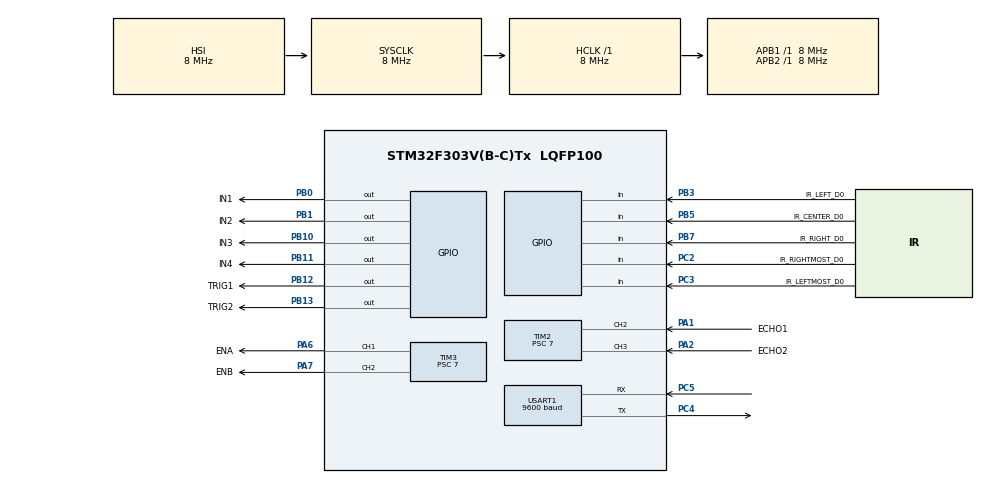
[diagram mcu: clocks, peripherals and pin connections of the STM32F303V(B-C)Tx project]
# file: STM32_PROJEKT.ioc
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Mcu.Family=STM32F3
Mcu.Name=STM32F303V(B-C)Tx
Mcu.Package=LQFP100
NVIC.PriorityGroup=NVIC_PRIORITYGROUP_4
NVIC.TIM2_IRQn=true\:0\:0\:false\:false\:true\:true\:true\:true
NVIC.USART1_IRQn=true\:0\:0\:false\:false\:true\:true\:true\:true
PA1.GPIO_Label=ECHO1
PA1.Signal=S_TIM2_CH2
PA2.GPIO_Label=ECHO2
PA2.Signal=S_TIM2_CH3
PA6.GPIO_Label=ENA
PA6.Signal=S_TIM3_CH1
PA7.GPIO_Label=ENB
PA7.Signal=S_TIM3_CH2
PB0.GPIO_Label=IN1
PB0.Signal=GPIO_Output
PB1.GPIO_Label=IN2
PB1.Signal=GPIO_Output
PB10.GPIO_Label=IN3
PB10.Signal=GPIO_Output
PB11.GPIO_Label=IN4
PB11.Signal=GPIO_Output
PB12.GPIO_Label=TRIG1
PB12.Signal=GPIO_Output
PB13.GPIO_Label=TRIG2
PB13.Signal=GPIO_Output
PB3.GPIO_Label=IR_LEFT_D0
PB3.GPIO_PuPd=GPIO_PULLUP
PB3.Signal=GPIO_Input
PB5.GPIO_Label=IR_CENTER_D0
PB5.GPIO_PuPd=GPIO_PULLUP
PB5.Signal=GPIO_Input
PB7.GPIO_Label=IR_RIGHT_D0
PB7.GPIO_PuPd=GPIO_PULLUP
PB7.Signal=GPIO_Input
PC2.GPIO_Label=IR_RIGHTMOST_D0
PC2.GPIO_PuPd=GPIO_PULLUP
PC2.Signal=GPIO_Input
PC3.GPIO_Label=IR_LEFTMOST_D0
PC3.GPIO_PuPd=GPIO_PULLUP
PC3.Signal=GPIO_Input
PC4.Mode=Asynchronous
PC4.Signal=USART1_TX
PC5.Mode=Asynchronous
PC5.Signal=USART1_RX
ProjectManager.HeapSize=0x200
ProjectManager.StackSize=0x400
ProjectManager.TargetToolchain=STM32CubeIDE
RCC.AHBFreq_Value=8000000
RCC.APB1Freq_Value=8000000
RCC.APB1TimFreq_Value=8000000
RCC.APB2Freq_Value=8000000
RCC.APB2TimFreq_Value=8000000
RCC.CortexFreq_Value=8000000
RCC.HCLKFreq_Value=8000000
RCC.HSE_VALUE=8000000
RCC.HSI_VALUE=8000000
RCC.LSE_VALUE=32768
RCC.PLLMUL=RCC_PLL_MUL9
RCC.SYSCLKFreq_VALUE=8000000
RCC.USBFreq_Value=36000000
SH.S_TIM2_CH2.0=TIM2_CH2,Input_Capture2_from_TI2
SH.S_TIM2_CH3.0=TIM2_CH3,Input_Capture3_from_TI3
SH.S_TIM3_CH1.0=TIM3_CH1,PWM Generation1 CH1
SH.S_TIM3_CH2.0=TIM3_CH2,PWM Generation2 CH2
TIM2.Channel-Input_Capture2_from_TI2=TIM_CHANNEL_2
TIM2.Channel-Input_Capture3_from_TI3=TIM_CHANNEL_3
TIM2.Period=65535
TIM2.Prescaler=7
TIM3.AutoReloadPreload=TIM_AUTORELOAD_PRELOAD_ENABLE
TIM3.Channel-PWM\ Generation1\ CH1=TIM_CHANNEL_1
TIM3.Channel-PWM\ Generation2\ CH2=TIM_CHANNEL_2
TIM3.Period=99
TIM3.Prescaler=7
USART1.BaudRate=9600
USART1.VirtualMode-Asynchronous=VM_ASYNC
VP_TIM3_VS_ClockSourceINT.Mode=Internal
board=custom

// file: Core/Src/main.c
/* USER CODE BEGIN Header */
/**
  ******************************************************************************
  * @file           : main.c
  * @brief          : Main program body
  ******************************************************************************
  * @attention
  *
  * Copyright (c) 2025 STMicroelectronics.
  * All rights reserved.
  *
  * This software is licensed under terms that can be found in the LICENSE file
  * in the root directory of this software component.
  * If no LICENSE file comes with this software, it is provided AS-IS.
  *
  ******************************************************************************
  */
/* USER CODE END Header */
#include "main.h"

/* USER CODE BEGIN Includes */
#include <string.h>
#include <stdio.h>
/* USER CODE END Includes */

/* USER CODE BEGIN PD */
#define PREDKOSC_MIN     0
#define PREDKOSC_MAX   100
#define KROK_PREDKOSCI   10
/* USER CODE END PD */

TIM_HandleTypeDef htim2;
TIM_HandleTypeDef htim3;

UART_HandleTypeDef huart1;

/* USER CODE BEGIN PV */
volatile uint8_t Auto = 0;
volatile uint8_t procentPredkosci = 10;
char znak;
int ostatniKierunek = 0;
uint32_t lewaOdleglosc = 0;
uint32_t prawaOdleglosc = 0;
volatile uint8_t pokazOdleglosc = 0;
/* USER CODE END PV */

void SystemClock_Config(void);
static void MX_GPIO_Init(void);
static void MX_TIM3_Init(void);
static void MX_TIM2_Init(void);
static void MX_USART1_UART_Init(void);
/* USER CODE BEGIN PFP */
void aktualizujPredkosc(void);
void zatrzymajSilniki(void);
void jedzNaprzod(void);
void jedzDoTylu(void);
void skrecWLewo(void);
void skrecWPrawo(void);
void zatrzymajRobota(void);
void jedzPoLinii(void);
void obslugaMenu(char znak);
uint32_t zmierzOdleglosc(GPIO_TypeDef* trigPort, uint16_t trigPin, GPIO_TypeDef* echoPort, uint16_t echoPin);
void wyswietlOdleglosc(void);

/* USER CODE END PFP */

/* USER CODE BEGIN 0 */

/*=============================================================================
  Ustawianie PWM wg procentuPredkosci
=============================================================================*/
void aktualizujPredkosc(void)
{
   uint32_t period = htim3.Init.Period + 1;
   uint32_t predkosc = (period * procentPredkosci) / 100;
   __HAL_TIM_SET_COMPARE(&htim3, TIM_CHANNEL_1, predkosc);
   __HAL_TIM_SET_COMPARE(&htim3, TIM_CHANNEL_2, predkosc);
}

/*=============================================================================
  Zatrzymanie silników
=============================================================================*/
void zatrzymajSilniki(void)
{
   __HAL_TIM_SET_COMPARE(&htim3, TIM_CHANNEL_1, 0);
   __HAL_TIM_SET_COMPARE(&htim3, TIM_CHANNEL_2, 0);
}

/*=============================================================================
  Jazda do przodu – oba silniki do przodu
=============================================================================*/
void jedzNaprzod(void)
{
   HAL_GPIO_WritePin(IN1_GPIO_Port, IN1_Pin, GPIO_PIN_SET);
   HAL_GPIO_WritePin(IN2_GPIO_Port, IN2_Pin, GPIO_PIN_RESET);
   HAL_GPIO_WritePin(IN3_GPIO_Port, IN3_Pin, GPIO_PIN_SET);
   HAL_GPIO_WritePin(IN4_GPIO_Port, IN4_Pin, GPIO_PIN_RESET);
   aktualizujPredkosc();
}

/*=============================================================================
  Jazda do tyłu – oba silniki do tyłu
=============================================================================*/
void jedzDoTylu(void)
{
   HAL_GPIO_WritePin(IN1_GPIO_Port, IN1_Pin, GPIO_PIN_RESET);
   HAL_GPIO_WritePin(IN2_GPIO_Port, IN2_Pin, GPIO_PIN_SET);
   HAL_GPIO_WritePin(IN3_GPIO_Port, IN3_Pin, GPIO_PIN_RESET);
   HAL_GPIO_WritePin(IN4_GPIO_Port, IN4_Pin, GPIO_PIN_SET);
   aktualizujPredkosc();
}

/*=============================================================================
  Skręt w lewo: lewy silnik do tyłu, prawy do przodu
=============================================================================*/
void skrecWLewo(void)
{
   HAL_GPIO_WritePin(IN1_GPIO_Port, IN1_Pin, GPIO_PIN_SET);
   HAL_GPIO_WritePin(IN2_GPIO_Port, IN2_Pin, GPIO_PIN_RESET);
   HAL_GPIO_WritePin(IN3_GPIO_Port, IN3_Pin, GPIO_PIN_RESET);
   HAL_GPIO_WritePin(IN4_GPIO_Port, IN4_Pin, GPIO_PIN_SET);
   aktualizujPredkosc();
}

/*=============================================================================
  Skręt w prawo: lewy silnik do przodu, prawy do tyłu
=============================================================================*/
void skrecWPrawo(void)
{
   HAL_GPIO_WritePin(IN1_GPIO_Port, IN1_Pin, GPIO_PIN_RESET);
   HAL_GPIO_WritePin(IN2_GPIO_Port, IN2_Pin, GPIO_PIN_SET);
   HAL_GPIO_WritePin(IN3_GPIO_Port, IN3_Pin, GPIO_PIN_SET);
   HAL_GPIO_WritePin(IN4_GPIO_Port, IN4_Pin, GPIO_PIN_RESET);
   aktualizujPredkosc();
}

/*=============================================================================
  Pełne zatrzymanie robota
=============================================================================*/
void zatrzymajRobota(void)
{
   zatrzymajSilniki();
   HAL_GPIO_WritePin(IN1_GPIO_Port, IN1_Pin, GPIO_PIN_RESET);
   HAL_GPIO_WritePin(IN2_GPIO_Port, IN2_Pin, GPIO_PIN_RESET);
   HAL_GPIO_WritePin(IN3_GPIO_Port, IN3_Pin, GPIO_PIN_RESET);
   HAL_GPIO_WritePin(IN4_GPIO_Port, IN4_Pin, GPIO_PIN_RESET);
}

/*=============================================================================
  Pomiar odległości za pomocą czujnikow ultradźwiękowych
=============================================================================*/
uint32_t zmierzOdleglosc(GPIO_TypeDef* trigPort, uint16_t trigPin, GPIO_TypeDef* echoPort, uint16_t echoPin)
{
	uint32_t start = 0, stop = 0;
	uint32_t timeout = HAL_GetTick();

	HAL_GPIO_WritePin(trigPort, trigPin, 0);
	HAL_Delay(1);
	HAL_GPIO_WritePin(trigPort, trigPin, 1);
	__HAL_TIM_SET_COUNTER(&htim2, 0);

	while (__HAL_TIM_GET_COUNTER(&htim2) < 10);
	HAL_GPIO_WritePin(trigPort, trigPin, 0);

	while (HAL_GPIO_ReadPin(echoPort, echoPin) == 0)
	{
		if (HAL_GetTick() - timeout > 10) return 0;
	}
	start = __HAL_TIM_GET_COUNTER(&htim2);

	timeout = HAL_GetTick();
	while (HAL_GPIO_ReadPin(echoPort, echoPin) == 1)
	{
		if (HAL_GetTick() - timeout > 50) return 0;
	}
	stop = __HAL_TIM_GET_COUNTER(&htim2);

	uint32_t czas = (stop > start) ? (stop - start) : 0;

	return (uint32_t)(czas * 0.017f);
}

/*=============================================================================
  Jazda po linii z reakcją na czujniki IR oraz czujniki odległości
=============================================================================*/
void jedzPoLinii(void)
{
	lewaOdleglosc  = zmierzOdleglosc(GPIOB, TRIG1_Pin, GPIOA, GPIO_PIN_1);
	prawaOdleglosc = zmierzOdleglosc(GPIOB, TRIG2_Pin, GPIOA, GPIO_PIN_2);

	if (lewaOdleglosc < 15 || prawaOdleglosc < 15)
	{
		zatrzymajRobota();
		return;
	}

    aktualizujPredkosc();

    uint8_t skrajnieLewySensor  = HAL_GPIO_ReadPin(IR_LEFTMOST_D0_GPIO_Port, IR_LEFTMOST_D0_Pin);
    uint8_t lewySensor          = HAL_GPIO_ReadPin(IR_LEFT_D0_GPIO_Port,     IR_LEFT_D0_Pin);
    uint8_t centralnySensor     = HAL_GPIO_ReadPin(IR_CENTER_D0_GPIO_Port,   IR_CENTER_D0_Pin);
    uint8_t prawySensor         = HAL_GPIO_ReadPin(IR_RIGHT_D0_GPIO_Port,    IR_RIGHT_D0_Pin);
    uint8_t skrajniePrawySensor = HAL_GPIO_ReadPin(IR_RIGHTMOST_D0_GPIO_Port, IR_RIGHTMOST_D0_Pin);

    if (centralnySensor == 1)
    {
        jedzNaprzod();
        ostatniKierunek = 0;
    }
    else if (lewySensor == 1)
    {
        skrecWLewo();
        ostatniKierunek = 1;
    }
    else if (prawySensor == 1)
    {
        skrecWPrawo();
        ostatniKierunek = 2;
    }
    else if (skrajnieLewySensor == 1)
    {
        skrecWLewo();
        ostatniKierunek = 1;
    }
    else if (skrajniePrawySensor == 1)
    {
        skrecWPrawo();
        ostatniKierunek = 2;
    }
    else
    {
        jedzDoTylu();
        HAL_Delay(30);

        if (ostatniKierunek == 1)
        {
            skrecWLewo();
        }
        else if (ostatniKierunek == 2)
        {
            skrecWPrawo();
        }
        else
        {
            jedzNaprzod();
        }

        HAL_Delay(150);
        zatrzymajSilniki();
    }
}

/*=============================================================================
  Wyświetlanie odległości zmierzonych przez oba czujniki
=============================================================================*/
void wyswietlOdleglosc(void)
{
	lewaOdleglosc = zmierzOdleglosc(GPIOB, TRIG1_Pin, GPIOA, GPIO_PIN_1);
	prawaOdleglosc = zmierzOdleglosc(GPIOB, TRIG2_Pin, GPIOA, GPIO_PIN_2);
	char tekst[64];
	sprintf(tekst, "Lewy: %lu cm | Prawy: %lu cm\r\n", lewaOdleglosc, prawaOdleglosc);
	HAL_UART_Transmit(&huart1, (uint8_t*)tekst, strlen(tekst), HAL_MAX_DELAY);
}

/*=============================================================================
  MENU (UART)
=============================================================================*/
void obslugaMenu(char znak)
{
   switch (znak)
   {
   case 'M':
      if (procentPredkosci + KROK_PREDKOSCI <= PREDKOSC_MAX) {
         procentPredkosci += KROK_PREDKOSCI;
      } else {
         procentPredkosci = PREDKOSC_MAX;
      }
      aktualizujPredkosc();
      break;

   case 'N':
      if (procentPredkosci >= KROK_PREDKOSCI) {
         procentPredkosci -= KROK_PREDKOSCI;
      } else {
         procentPredkosci = PREDKOSC_MIN;
      }
      aktualizujPredkosc();
      break;

   case 'G':
      jedzNaprzod();
      break;

   case 'T':
      jedzDoTylu();
      break;

   case 'L':
      skrecWLewo();
      break;

   case 'P':
      skrecWPrawo();
      break;
   case 'S':
      zatrzymajRobota();
      break;
   case 'A':
      Auto = 1;
      break;
   case 'a':
      Auto = 0;
      zatrzymajRobota();
      break;
   case 'O':
	  pokazOdleglosc = 1;
      break;
   default:
      break;
   }
}
/* USER CODE END 0 */

int main(void)
{

  /* MCU Configuration--------------------------------------------------------*/

  /* Reset of all peripherals, Initializes the Flash interface and the Systick. */
  HAL_Init();

  /* Configure the system clock */
  SystemClock_Config();

  /* Initialize all configured peripherals */
  MX_GPIO_Init();
  MX_TIM3_Init();
  MX_TIM2_Init();
  MX_USART1_UART_Init();
  /* USER CODE BEGIN 2 */
  HAL_TIM_PWM_Start(&htim3, TIM_CHANNEL_1);
  HAL_TIM_PWM_Start(&htim3, TIM_CHANNEL_2);

  aktualizujPredkosc();

  HAL_TIM_Base_Start(&htim2);
  HAL_UART_Receive_IT(&huart1, (uint8_t*)&znak, 1);

  char *w = "Robot Działa\r\n";
  HAL_UART_Transmit(&huart1, (uint8_t*)w, strlen(w), HAL_MAX_DELAY);
  /* USER CODE END 2 */

  /* Infinite loop */
  /* USER CODE BEGIN WHILE */
  while (1)
  {
     if (Auto==1)
     {
    	 jedzPoLinii();
     }
     if (pokazOdleglosc==1)
     {
         wyswietlOdleglosc();
         pokazOdleglosc=0;
     }
  }
    /* USER CODE END WHILE */

}

void SystemClock_Config(void)
{
  RCC_OscInitTypeDef RCC_OscInitStruct = {0};
  RCC_ClkInitTypeDef RCC_ClkInitStruct = {0};
  RCC_PeriphCLKInitTypeDef PeriphClkInit = {0};

  /** Initializes the RCC Oscillators according to the specified parameters
  * in the RCC_OscInitTypeDef structure.
  */
  RCC_OscInitStruct.OscillatorType = RCC_OSCILLATORTYPE_HSI;
  RCC_OscInitStruct.HSIState = RCC_HSI_ON;
  RCC_OscInitStruct.HSICalibrationValue = RCC_HSICALIBRATION_DEFAULT;
  RCC_OscInitStruct.PLL.PLLState = RCC_PLL_NONE;
  if (HAL_RCC_OscConfig(&RCC_OscInitStruct) != HAL_OK)
  {
    Error_Handler();
  }

  /** Initializes the CPU, AHB and APB buses clocks
  */
  RCC_ClkInitStruct.ClockType = RCC_CLOCKTYPE_HCLK|RCC_CLOCKTYPE_SYSCLK
                              |RCC_CLOCKTYPE_PCLK1|RCC_CLOCKTYPE_PCLK2;
  RCC_ClkInitStruct.SYSCLKSource = RCC_SYSCLKSOURCE_HSI;
  RCC_ClkInitStruct.AHBCLKDivider = RCC_SYSCLK_DIV1;
  RCC_ClkInitStruct.APB1CLKDivider = RCC_HCLK_DIV1;
  RCC_ClkInitStruct.APB2CLKDivider = RCC_HCLK_DIV1;

  if (HAL_RCC_ClockConfig(&RCC_ClkInitStruct, FLASH_LATENCY_0) != HAL_OK)
  {
    Error_Handler();
  }
  PeriphClkInit.PeriphClockSelection = RCC_PERIPHCLK_USART1;
  PeriphClkInit.Usart1ClockSelection = RCC_USART1CLKSOURCE_PCLK2;
  if (HAL_RCCEx_PeriphCLKConfig(&PeriphClkInit) != HAL_OK)
  {
    Error_Handler();
  }
}

static void MX_TIM2_Init(void)
{

  TIM_MasterConfigTypeDef sMasterConfig = {0};
  TIM_IC_InitTypeDef sConfigIC = {0};

  htim2.Instance = TIM2;
  htim2.Init.Prescaler = 7;
  htim2.Init.CounterMode = TIM_COUNTERMODE_UP;
  htim2.Init.Period = 65535;
  htim2.Init.ClockDivision = TIM_CLOCKDIVISION_DIV1;
  htim2.Init.AutoReloadPreload = TIM_AUTORELOAD_PRELOAD_DISABLE;
  if (HAL_TIM_IC_Init(&htim2) != HAL_OK)
  {
    Error_Handler();
  }
  sMasterConfig.MasterOutputTrigger = TIM_TRGO_RESET;
  sMasterConfig.MasterSlaveMode = TIM_MASTERSLAVEMODE_DISABLE;
  if (HAL_TIMEx_MasterConfigSynchronization(&htim2, &sMasterConfig) != HAL_OK)
  {
    Error_Handler();
  }
  sConfigIC.ICPolarity = TIM_INPUTCHANNELPOLARITY_RISING;
  sConfigIC.ICSelection = TIM_ICSELECTION_DIRECTTI;
  sConfigIC.ICPrescaler = TIM_ICPSC_DIV1;
  sConfigIC.ICFilter = 0;
  if (HAL_TIM_IC_ConfigChannel(&htim2, &sConfigIC, TIM_CHANNEL_2) != HAL_OK)
  {
    Error_Handler();
  }
  if (HAL_TIM_IC_ConfigChannel(&htim2, &sConfigIC, TIM_CHANNEL_3) != HAL_OK)
  {
    Error_Handler();
  }

}

static void MX_TIM3_Init(void)
{

  TIM_ClockConfigTypeDef sClockSourceConfig = {0};
  TIM_MasterConfigTypeDef sMasterConfig = {0};
  TIM_OC_InitTypeDef sConfigOC = {0};

  htim3.Instance = TIM3;
  htim3.Init.Prescaler = 7;
  htim3.Init.CounterMode = TIM_COUNTERMODE_UP;
  htim3.Init.Period = 99;
  htim3.Init.ClockDivision = TIM_CLOCKDIVISION_DIV1;
  htim3.Init.AutoReloadPreload = TIM_AUTORELOAD_PRELOAD_ENABLE;
  if (HAL_TIM_Base_Init(&htim3) != HAL_OK)
  {
    Error_Handler();
  }
  sClockSourceConfig.ClockSource = TIM_CLOCKSOURCE_INTERNAL;
  if (HAL_TIM_ConfigClockSource(&htim3, &sClockSourceConfig) != HAL_OK)
  {
    Error_Handler();
  }
  if (HAL_TIM_PWM_Init(&htim3) != HAL_OK)
  {
    Error_Handler();
  }
  sMasterConfig.MasterOutputTrigger = TIM_TRGO_RESET;
  sMasterConfig.MasterSlaveMode = TIM_MASTERSLAVEMODE_DISABLE;
  if (HAL_TIMEx_MasterConfigSynchronization(&htim3, &sMasterConfig) != HAL_OK)
  {
    Error_Handler();
  }
  sConfigOC.OCMode = TIM_OCMODE_PWM1;
  sConfigOC.Pulse = 0;
  sConfigOC.OCPolarity = TIM_OCPOLARITY_HIGH;
  sConfigOC.OCFastMode = TIM_OCFAST_DISABLE;
  if (HAL_TIM_PWM_ConfigChannel(&htim3, &sConfigOC, TIM_CHANNEL_1) != HAL_OK)
  {
    Error_Handler();
  }
  if (HAL_TIM_PWM_ConfigChannel(&htim3, &sConfigOC, TIM_CHANNEL_2) != HAL_OK)
  {
    Error_Handler();
  }
  HAL_TIM_MspPostInit(&htim3);

}

static void MX_USART1_UART_Init(void)
{

  huart1.Instance = USART1;
  huart1.Init.BaudRate = 9600;
  huart1.Init.WordLength = UART_WORDLENGTH_8B;
  huart1.Init.StopBits = UART_STOPBITS_1;
  huart1.Init.Parity = UART_PARITY_NONE;
  huart1.Init.Mode = UART_MODE_TX_RX;
  huart1.Init.HwFlowCtl = UART_HWCONTROL_NONE;
  huart1.Init.OverSampling = UART_OVERSAMPLING_16;
  huart1.Init.OneBitSampling = UART_ONE_BIT_SAMPLE_DISABLE;
  huart1.AdvancedInit.AdvFeatureInit = UART_ADVFEATURE_NO_INIT;
  if (HAL_UART_Init(&huart1) != HAL_OK)
  {
    Error_Handler();
  }

}

static void MX_GPIO_Init(void)
{
  GPIO_InitTypeDef GPIO_InitStruct = {0};

  /* GPIO Ports Clock Enable */
  __HAL_RCC_GPIOC_CLK_ENABLE();
  __HAL_RCC_GPIOA_CLK_ENABLE();
  __HAL_RCC_GPIOB_CLK_ENABLE();

  /*Configure GPIO pin Output Level */
  HAL_GPIO_WritePin(GPIOB, IN1_Pin|IN2_Pin|IN3_Pin|IN4_Pin
                          |TRIG1_Pin|TRIG2_Pin, GPIO_PIN_RESET);

  /*Configure GPIO pins : IR_RIGHTMOST_D0_Pin IR_LEFTMOST_D0_Pin */
  GPIO_InitStruct.Pin = IR_RIGHTMOST_D0_Pin|IR_LEFTMOST_D0_Pin;
  GPIO_InitStruct.Mode = GPIO_MODE_INPUT;
  GPIO_InitStruct.Pull = GPIO_PULLUP;
  HAL_GPIO_Init(GPIOC, &GPIO_InitStruct);

  /*Configure GPIO pins : IN1_Pin IN2_Pin IN3_Pin IN4_Pin
                           TRIG1_Pin TRIG2_Pin */
  GPIO_InitStruct.Pin = IN1_Pin|IN2_Pin|IN3_Pin|IN4_Pin
                          |TRIG1_Pin|TRIG2_Pin;
  GPIO_InitStruct.Mode = GPIO_MODE_OUTPUT_PP;
  GPIO_InitStruct.Pull = GPIO_NOPULL;
  GPIO_InitStruct.Speed = GPIO_SPEED_FREQ_LOW;
  HAL_GPIO_Init(GPIOB, &GPIO_InitStruct);

  /*Configure GPIO pins : IR_LEFT_D0_Pin IR_CENTER_D0_Pin IR_RIGHT_D0_Pin */
  GPIO_InitStruct.Pin = IR_LEFT_D0_Pin|IR_CENTER_D0_Pin|IR_RIGHT_D0_Pin;
  GPIO_InitStruct.Mode = GPIO_MODE_INPUT;
  GPIO_InitStruct.Pull = GPIO_PULLUP;
  HAL_GPIO_Init(GPIOB, &GPIO_InitStruct);

}

/* USER CODE BEGIN 4 */
void HAL_UART_RxCpltCallback(UART_HandleTypeDef *huart)
{
   if (huart->Instance == USART1)
   {
      obslugaMenu(znak);
      HAL_UART_Receive_IT(&huart1, (uint8_t*)&znak, 1);
   }
}
/* USER CODE END 4 */

void Error_Handler(void)
{
   __disable_irq();
   while (1)
   {
   }
}
